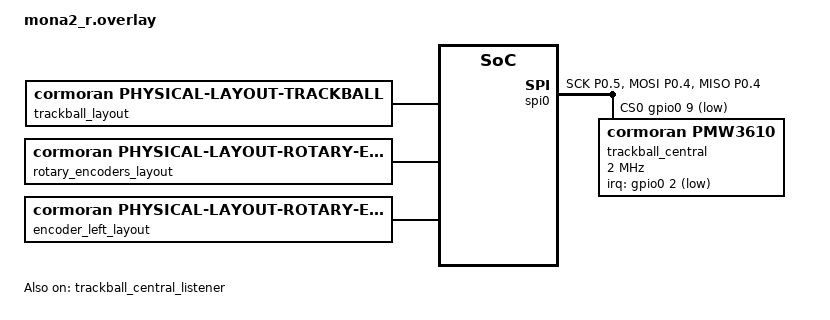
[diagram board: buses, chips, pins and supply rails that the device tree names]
#include "mona2.dtsi"
/* mona2.dtsi の RC(row,col) 展開が終わった後に include する（mona2.dtsi の NOTE 参照） */
#include <input/processors/runtime-input-processor.dtsi>
#include <zephyr/dt-bindings/input/input-event-codes.h>

&default_transform {
    col-offset = <6>;
};

&kscan0 {
    col-gpios
        = <&xiao_d 10 GPIO_ACTIVE_HIGH>
        , <&xiao_d 9 GPIO_ACTIVE_HIGH>
        , <&xiao_d 8 GPIO_ACTIVE_HIGH>
        , <&xiao_d 7 GPIO_ACTIVE_HIGH>
        , <&gpio0 10 GPIO_ACTIVE_HIGH>
        ;
};

&pinctrl {
    spi0_default: spi0_default {
        group1 {
            psels = <NRF_PSEL(SPIM_SCK, 0, 5)>,
                    <NRF_PSEL(SPIM_MOSI, 0, 4)>,
                    <NRF_PSEL(SPIM_MISO, 0, 4)>;
        };
    };

    spi0_sleep: spi0_sleep {
        group1 {
            psels = <NRF_PSEL(SPIM_SCK, 0, 5)>,
                    <NRF_PSEL(SPIM_MOSI, 0, 4)>,
                    <NRF_PSEL(SPIM_MISO, 0, 4)>;
            low-power-enable;
        };
    };
};

&spi0 {
    status = "okay";
    compatible = "nordic,nrf-spim";
    pinctrl-0 = <&spi0_default>;
    pinctrl-1 = <&spi0_sleep>;
    pinctrl-names = "default", "sleep";
    cs-gpios = <&gpio0 9 GPIO_ACTIVE_LOW>;

    /* DYA Studio の Trackball / 診断タブに対応した cormoran 版 PMW3610 ドライバー */
    trackball_central: trackball_central@0 {
        status = "okay";
        compatible = "cormoran,pmw3610";
        reg = <0>;
        spi-max-frequency = <2000000>;
        irq-gpios = <&gpio0 2 (GPIO_ACTIVE_LOW | GPIO_PULL_UP)>;
        cpi = <600>;
        evt-type = <INPUT_EV_REL>;
        x-input-code = <INPUT_REL_X>;
        y-input-code = <INPUT_REL_Y>;
        settings-id = "trackball";
    };
};

/* 実機で DYA Studio から保存されていたスクロール用プロセッサーの値を初期値として固定する
   (scale 1/21、X/Y 反転、Layer 10 のみ有効) */
&scroll_runtime_input_processor {
    scale-multiplier = <1>;
    scale-divisor = <21>;
    x-invert;
    y-invert;
    active-layers = <0x00000400>;
};

&trackball_central_listener {
    status = "okay";
    device = <&trackball_central>;
    input-processors =
        <&zip_xy_transform INPUT_TRANSFORM_Y_INVERT>,
        <&mouse_runtime_input_processor>;

    scroller {
        layers = <10>;
        input-processors =
            <&zip_xy_transform INPUT_TRANSFORM_X_INVERT>,
            <&zip_xy_to_scroll_mapper>,
            <&zip_scroll_transform INPUT_TRANSFORM_X_INVERT>,
            <&zip_scroll_scaler 1 1>,
            <&scroll_runtime_input_processor>;
    };
};

/* DYA Studio のキーマップ プレビューにトラックボールとエンコーダーを表示する
   (見た目のみ。座標はキーの physical layout と同じ単位) */
/ {
    trackball_layout: trackball_layout {
        compatible = "cormoran,physical-layout-trackball";
        display-name = "Trackball";
        size = <180>;
        x = <910>;
        y = <300>;
        linked-device-identifiers = "mouse", "scroll";
        linked-subsystems = "cormoran_rip", "cormoran_rip";
    };

    rotary_encoders_layout: rotary_encoders_layout {
        compatible = "cormoran,physical-layout-rotary-encoders";
        display-name = "Rotary Encoder";
        encoders = <&encoder_left_layout>;
    };

    encoder_left_layout: encoder_left_layout {
        compatible = "cormoran,physical-layout-rotary-encoder";
        size = <80>;
        x = <510>;
        y = <10>;
    };
};
